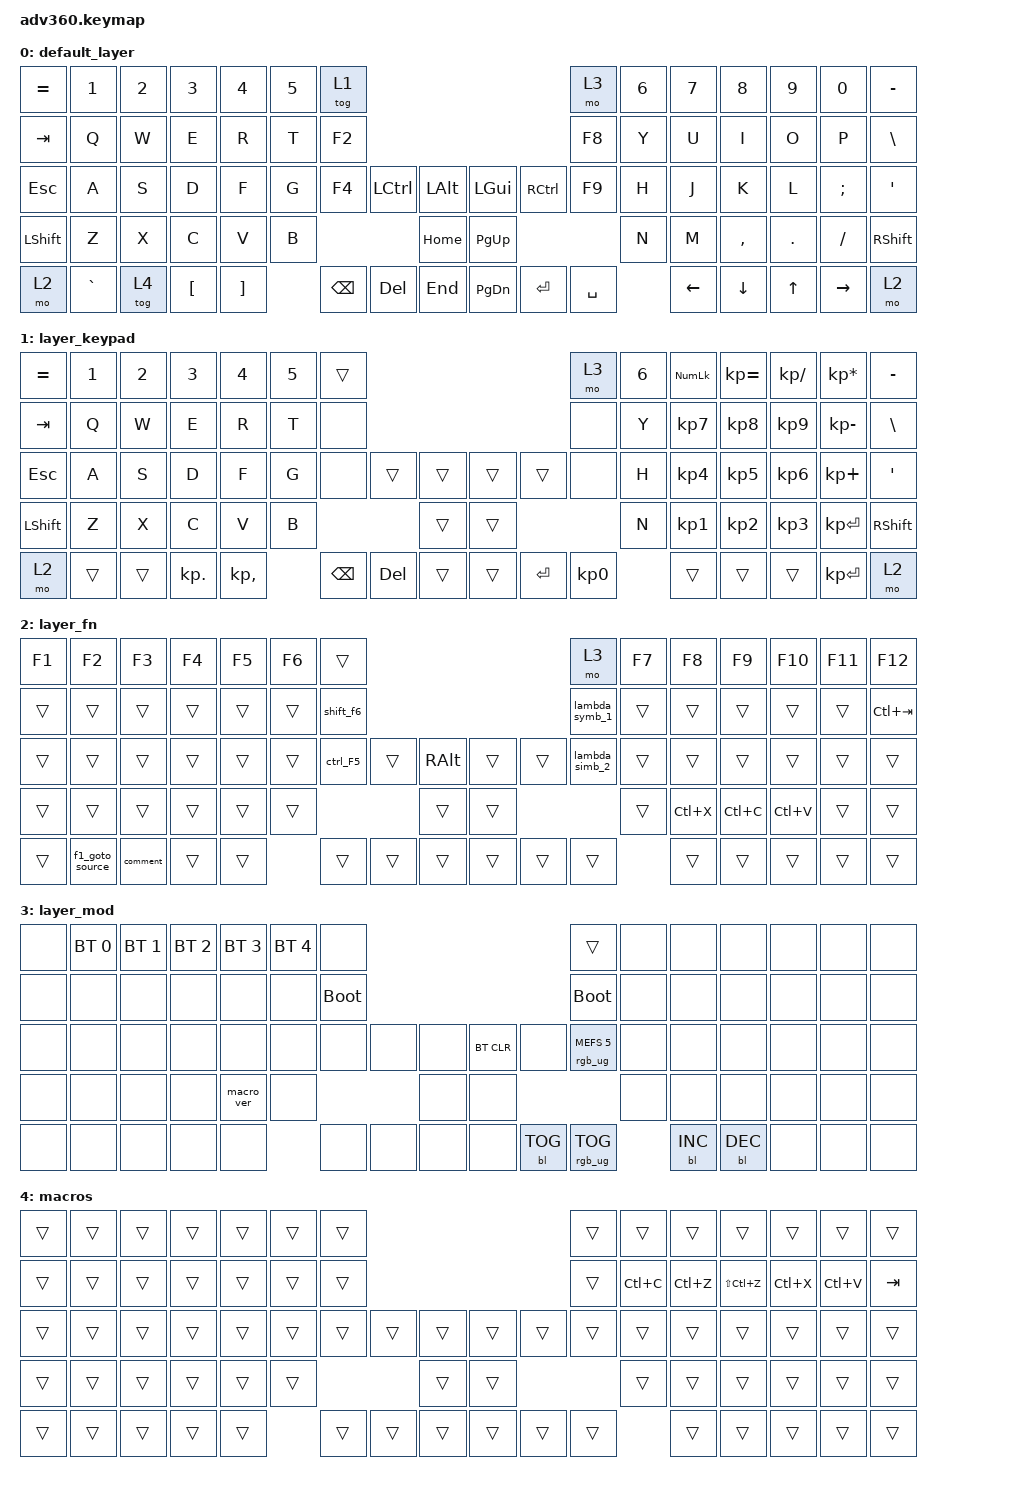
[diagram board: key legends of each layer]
/*
 * Copyright (c) 2020 The ZMK Contributors
 *
 * SPDX-License-Identifier: MIT
 */
/* THIS FILE WAS GENERATED!
 *
 * This file was generated automatically. You may or may not want to
 * edit it directly.
 */

#include <behaviors.dtsi>
#include <dt-bindings/zmk/backlight.h>
#include <dt-bindings/zmk/bt.h>
#include <dt-bindings/zmk/keys.h>
#include <dt-bindings/zmk/rgb.h>

/ {
    behaviors {
        #include "macros.dtsi"
    #include "version.dtsi"

        hm: homerow_mods {
            compatible = "zmk,behavior-hold-tap";
            label = "HOMEROW_MODS";
            #binding-cells = <2>;
            tapping-term-ms = <200>;
            quick_tap_ms = <175>;
            flavor = "tap-preferred";
            bindings = <&kp>, <&kp>;
        };
    };

    macros {
        f1_goto_source: f1_goto_source {
            compatible = "zmk,behavior-macro";
            #binding-cells = <0>;
            bindings = <&kp LA(F1) &kp N1>;
            label = "F1_GOTO_SOURCE";
        };

        shift_f6: shift_f6 {
            compatible = "zmk,behavior-macro";
            #binding-cells = <0>;
            bindings = <&kp LS(F6)>;
            label = "SHIFT_F6";
        };

        alt_f4: alt_f4 {
            compatible = "zmk,behavior-macro";
            #binding-cells = <0>;
            bindings = <&kp LA(F4)>;
            label = "ALT_F4";
        };

        comment: comment {
            compatible = "zmk,behavior-macro";
            #binding-cells = <0>;
            bindings = <&kp LC(SLASH)>;
            label = "COMMENT";
        };

        ctrl_F5: ctrl_F5 {
            compatible = "zmk,behavior-macro";
            #binding-cells = <0>;
            bindings = <&kp LC(F5)>;
            label = "CTRL_F5";
        };

        lambda_simb_2: lambda_simb_2 {
            compatible = "zmk,behavior-macro";
            #binding-cells = <0>;
            bindings = <&kp EQUAL &kp GT>;
            label = "LAMBDA_SIMB_2";
        };

        lambda_symb_1: lambda_symb_1 {
            compatible = "zmk,behavior-macro";
            #binding-cells = <0>;
            bindings = <&kp MINUS &kp GT>;
            label = "LAMBDA_SYMB_1";
        };
    };

    combos {
        compatible = "zmk,combos";

        lshift_rshift_caps {
            bindings = <&kp CAPS>;
            key-positions = <46 59>;
        };

        Toggle_fn_layer {
            bindings = <&tog 2>;
            key-positions = <60 75>;
        };
    };

    keymap {
        compatible = "zmk,keymap";

        default_layer {
            bindings = <
&kp EQUAL  &kp N1     &kp N2  &kp N3    &kp N4    &kp N5  &tog 1                                                                &mo 3      &kp N6  &kp N7    &kp N8     &kp N9        &kp N0     &kp MINUS
&kp TAB    &kp Q      &kp W   &kp E     &kp R     &kp T   &kp F2                                                                &kp F8     &kp Y   &kp U     &kp I      &kp O         &kp P      &kp BSLH
&kp ESC    &kp A      &kp S   &kp D     &kp F     &kp G   &kp F4         &kp LCTRL  &kp LEFT_ALT      &kp LEFT_GUI   &kp RCTRL  &kp F9     &kp H   &kp J     &kp K      &kp L         &kp SEMI   &kp SQT
&kp LSHFT  &kp Z      &kp X   &kp C     &kp V     &kp B                             &kp HOME          &kp PG_UP                            &kp N   &kp M     &kp COMMA  &kp PERIOD    &kp SLASH  &kp RSHFT
&mo 2      &kp GRAVE  &tog 4  &kp LBKT  &kp RBKT          &kp BACKSPACE  &kp DEL    &kp END           &kp PAGE_DOWN  &kp ENTER  &kp SPACE          &kp LEFT  &kp DOWN   &kp UP_ARROW  &kp RIGHT  &mo 2
            >;
        };

        layer_keypad {
            bindings = <
&kp EQUAL  &kp N1  &kp N2  &kp N3      &kp N4        &kp N5  &trans                                                 &mo 3      &kp N6  &kp KP_NUM  &kp KP_EQUAL  &kp KP_DIVIDE  &kp KP_MULTIPLY  &kp MINUS
&kp TAB    &kp Q   &kp W   &kp E       &kp R         &kp T   &none                                                  &none      &kp Y   &kp KP_N7   &kp KP_N8     &kp KP_N9      &kp KP_MINUS     &kp BSLH
&kp ESC    &kp A   &kp S   &kp D       &kp F         &kp G   &none          &trans   &trans      &trans  &trans     &none      &kp H   &kp KP_N4   &kp KP_N5     &kp KP_N6      &kp KP_PLUS      &kp SINGLE_QUOTE
&kp LSHFT  &kp Z   &kp X   &kp C       &kp V         &kp B                           &trans      &trans                        &kp N   &kp KP_N1   &kp KP_N2     &kp KP_N3      &kp KP_ENTER     &kp RSHFT
&mo 2      &trans  &trans  &kp KP_DOT  &kp KP_COMMA          &kp BACKSPACE  &kp DEL  &trans      &trans  &kp ENTER  &kp KP_N0          &trans      &trans        &trans         &kp KP_ENTER     &mo 2
            >;
        };

        layer_fn {
            bindings = <
&kp F1  &kp F2           &kp F3    &kp F4  &kp F5  &kp F6  &trans                                                &mo 3           &kp F7  &kp F8     &kp F9     &kp F10    &kp F11  &kp F12
&trans  &trans           &trans    &trans  &trans  &trans  &shift_f6                                             &lambda_symb_1  &trans  &trans     &trans     &trans     &trans   &kp LC(TAB)
&trans  &trans           &trans    &trans  &trans  &trans  &ctrl_F5   &trans  &kp RIGHT_ALT      &trans  &trans  &lambda_simb_2  &trans  &trans     &trans     &trans     &trans   &trans
&trans  &trans           &trans    &trans  &trans  &trans                     &trans             &trans                          &trans  &kp LC(X)  &kp LC(C)  &kp LC(V)  &trans   &trans
&trans  &f1_goto_source  &comment  &trans  &trans          &trans     &trans  &trans             &trans  &trans  &trans                  &trans     &trans     &trans     &trans   &trans
            >;
        };

        layer_mod {
            bindings = <
&none  &bt BT_SEL 0  &bt BT_SEL 1  &bt BT_SEL 2  &bt BT_SEL 3  &bt BT_SEL 4  &none                                                  &trans                  &none  &none       &none       &none  &none  &none
&none  &none         &none         &none         &none         &none         &bootloader                                            &bootloader             &none  &none       &none       &none  &none  &none
&none  &none         &none         &none         &none         &none         &none        &none  &none      &bt BT_CLR  &none       &rgb_ug RGB_MEFS_CMD 5  &none  &none       &none       &none  &none  &none
&none  &none         &none         &none         &macro_ver    &none                             &none      &none                                           &none  &none       &none       &none  &none  &none
&none  &none         &none         &none         &none                       &none        &none  &none      &none       &bl BL_TOG  &rgb_ug RGB_TOG                &bl BL_INC  &bl BL_DEC  &none  &none  &none
            >;
        };

        macros {
            bindings = <
&trans  &trans  &trans  &trans  &trans  &trans  &trans                                      &trans  &trans     &trans     &trans         &trans     &trans     &trans
&trans  &trans  &trans  &trans  &trans  &trans  &trans                                      &trans  &kp LC(C)  &kp LC(Z)  &kp LS(LC(Z))  &kp LC(X)  &kp LC(V)  &kp TAB
&trans  &trans  &trans  &trans  &trans  &trans  &trans  &trans  &trans      &trans  &trans  &trans  &trans     &trans     &trans         &trans     &trans     &trans
&trans  &trans  &trans  &trans  &trans  &trans                  &trans      &trans                  &trans     &trans     &trans         &trans     &trans     &trans
&trans  &trans  &trans  &trans  &trans          &trans  &trans  &trans      &trans  &trans  &trans             &trans     &trans         &trans     &trans     &trans
            >;
        };
    };
};
